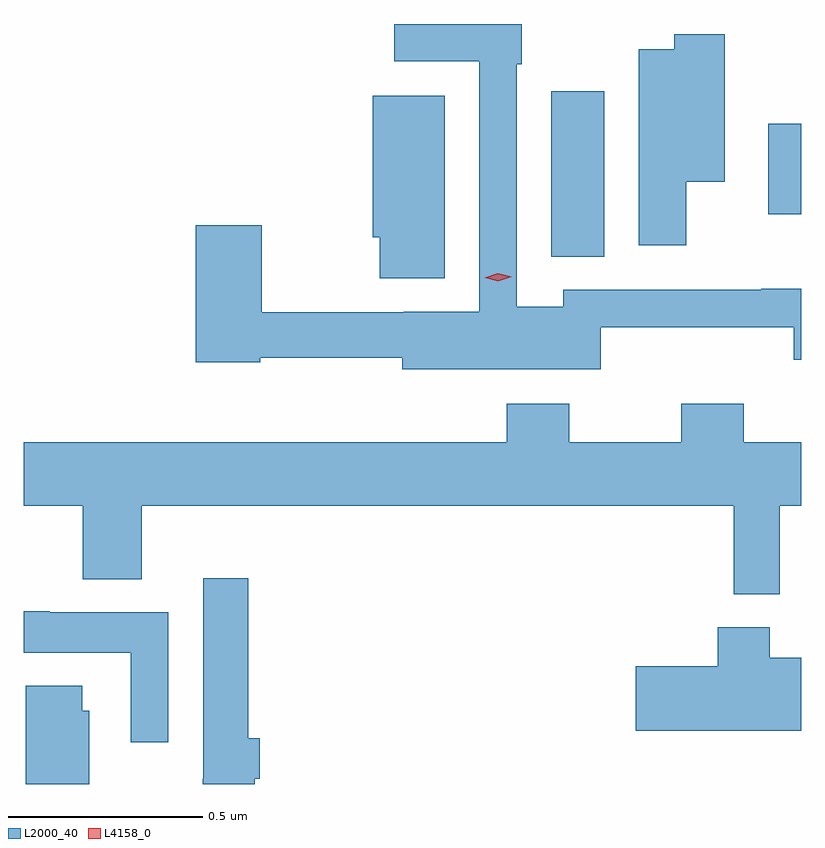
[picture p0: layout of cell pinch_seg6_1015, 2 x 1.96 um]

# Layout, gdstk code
import gdstk
lib = gdstk.Library(unit=1e-6, precision=1e-09)
def R(c, l, rs):  # rectangles x0, y0, x1, y1
    for r in rs: c.add(gdstk.rectangle(r[:2], r[2:], *l))
def P(c, l, *ps):  # polygons
    for p in ps: c.add(gdstk.Polygon(p, *l))
L2000_40 = (2000, 40)
L4158_0 = (4158, 0)

pinch_seg6_1015 = lib.new_cell('pinch_seg6_1015')
R(pinch_seg6_1015, L2000_40, [(264.815,945.313,264.952,945.739), (265.373,945.422,265.458,945.655)])
P(pinch_seg6_1015, L2000_40, [(264.942,945.131),(265.439,945.131),(265.439,945.048),(265.458,945.048),(265.458,945.23),(265.355,945.23),(265.355,945.228),(264.846,945.228),(264.846,945.184),(264.726,945.184),(264.726,945.809),(264.739,945.809),(264.739,945.912),(264.411,945.912),(264.411,945.816),(264.63,945.816),(264.63,945.172),(264.435,945.172),(264.435,945.17),(264.07,945.17),(264.07,945.394),(263.9,945.394),(263.9,945.041),(264.066,945.041),(264.066,945.053),(264.431,945.053),(264.431,945.023),(264.942,945.023)],
  [(265.162,945.506),(265.261,945.506),(265.261,945.886),(265.132,945.886),(265.132,945.847),(265.04,945.847),(265.04,945.342),(265.162,945.342)],
  [(264.541,945.727),(264.356,945.727),(264.356,945.363),(264.374,945.363),(264.374,945.257),(264.541,945.257)],
  [(265.403,944.672),(265.458,944.672),(265.458,944.836),(265.31,944.836),(265.31,944.935),(265.15,944.935),(265.15,944.836),(264.861,944.836),(264.861,944.935),(264.701,944.935),(264.701,944.836),(263.458,944.836),(263.458,944.672),(263.609,944.672),(263.609,944.483),(263.761,944.483),(263.761,944.672),(265.285,944.672),(265.285,944.444),(265.403,944.444)],
  [(264.052,943.97),(264.065,943.97),(264.065,944.074),(264.035,944.074),(264.035,944.485),(263.919,944.485),(263.919,943.97),(263.918,943.97),(263.918,943.956),(264.052,943.956)],
  [(263.829,944.398),(263.525,944.398),(263.525,944.401),(263.458,944.401),(263.458,944.294),(263.733,944.294),(263.733,944.064),(263.829,944.064)],
  [(265.458,944.281),(265.378,944.281),(265.378,944.359),(265.244,944.359),(265.244,944.259),(265.032,944.259),(265.032,944.093),(265.458,944.093)],
  [(263.626,944.145),(263.608,944.145),(263.608,944.209),(263.462,944.209),(263.462,943.956),(263.626,943.956)])
P(pinch_seg6_1015, L4158_0, [(264.679,945.25),(264.644,945.259),(264.644,945.259),(264.644,945.259),(264.678,945.27),(264.713,945.261),(264.713,945.261),(264.713,945.261)])

lib.write_gds('pinch_seg6_1015.gds')
